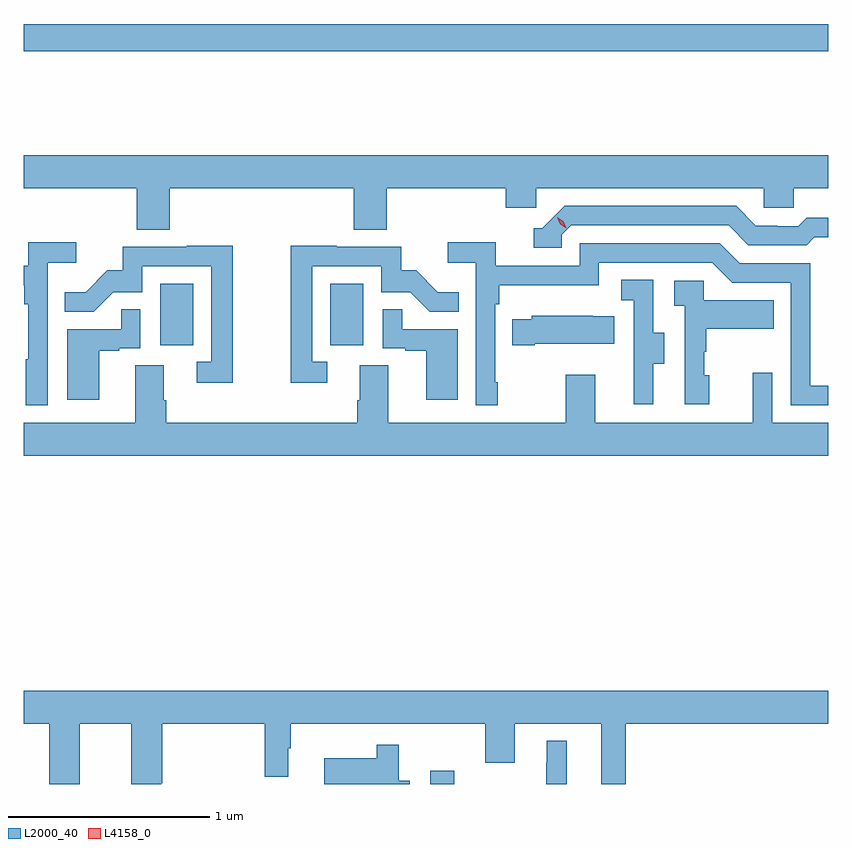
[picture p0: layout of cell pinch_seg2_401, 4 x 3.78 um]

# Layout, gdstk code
import gdstk
lib = gdstk.Library(unit=1e-6, precision=1e-09)
def R(c, l, rs):  # rectangles x0, y0, x1, y1
    for r in rs: c.add(gdstk.rectangle(r[:2], r[2:], *l))
def P(c, l, *ps):  # polygons
    for p in ps: c.add(gdstk.Polygon(p, *l))
L2000_40 = (2000, 40)
L4158_0 = (4158, 0)

pinch_seg2_401 = lib.new_cell('pinch_seg2_401')
R(pinch_seg2_401, L2000_40, [(952.142,620.696,952.261,620.761), (950.798,622.878,950.962,623.185), (951.644,622.878,951.808,623.185), (950.12,624.34,954.12,624.476)])
P(pinch_seg2_401, L2000_40, [(950.846,623.66),(951.761,623.66),(951.761,623.452),(951.926,623.452),(951.926,623.66),(952.517,623.66),(952.517,623.562),(952.668,623.562),(952.668,623.66),(953.799,623.66),(953.799,623.562),(953.949,623.562),(953.949,623.66),(954.12,623.66),(954.12,623.824),(950.12,623.824),(950.12,623.66),(950.681,623.66),(950.681,623.452),(950.846,623.452)],
  [(952.794,623.427),(952.842,623.475),(953.625,623.475),(953.724,623.376),(954.013,623.376),(954.052,623.415),(954.12,623.415),(954.12,623.512),(954.013,623.512),(953.971,623.469),(953.868,623.469),(953.868,623.472),(953.761,623.472),(953.662,623.571),(952.809,623.571),(952.698,623.46),(952.655,623.46),(952.655,623.364),(952.794,623.364)],
  [(950.238,623.288),(950.38,623.288),(950.38,623.39),(950.141,623.39),(950.141,623.274),(950.12,623.274),(950.12,623.177),(950.122,623.177),(950.122,623.081),(950.142,623.081),(950.142,622.808),(950.13,622.808),(950.13,622.581),(950.238,622.581)],
  [(952.477,622.693),(952.464,622.693),(952.464,623.081),(952.484,623.081),(952.484,623.177),(952.98,623.177),(952.98,623.289),(953.544,623.289),(953.643,623.19),(953.934,623.19),(953.934,622.581),(954.12,622.581),(954.12,622.677),(954.03,622.677),(954.03,623.286),(953.68,623.286),(953.581,623.385),(952.884,623.385),(952.884,623.274),(952.466,623.274),(952.466,623.39),(952.227,623.39),(952.227,623.288),(952.368,623.288),(952.368,622.581),(952.477,622.581)],
  [(951.628,622.797),(951.555,622.797),(951.555,623.271),(951.897,623.271),(951.897,623.142),(952.041,623.142),(952.139,623.044),(952.283,623.044),(952.283,623.143),(952.179,623.143),(952.072,623.25),(951.996,623.25),(951.996,623.367),(951.677,623.367),(951.677,623.372),(951.447,623.372),(951.447,622.692),(951.628,622.692)],
  [(951.16,623.372),(950.929,623.372),(950.929,623.367),(950.611,623.367),(950.611,623.25),(950.534,623.25),(950.427,623.143),(950.323,623.143),(950.323,623.044),(950.467,623.044),(950.565,623.142),(950.709,623.142),(950.709,623.271),(951.051,623.271),(951.051,622.797),(950.979,622.797),(950.979,622.692),(951.16,622.692)],
  [(953.251,622.786),(953.305,622.786),(953.305,622.941),(953.25,622.941),(953.25,623.204),(953.091,623.204),(953.091,623.101),(953.154,623.101),(953.154,622.797),(953.153,622.797),(953.153,622.584),(953.251,622.584)],
  [(953.53,622.728),(953.505,622.728),(953.505,622.847),(953.515,622.847),(953.515,622.961),(953.849,622.961),(953.849,623.101),(953.502,623.101),(953.502,623.199),(953.355,623.199),(953.355,623.075),(953.406,623.075),(953.406,622.584),(953.53,622.584)],
  [(952.279,622.959),(952.001,622.959),(952.001,623.057),(951.906,623.057),(951.906,622.863),(952.017,622.863),(952.017,622.851),(952.121,622.851),(952.121,622.608),(952.279,622.608)],
  [(950.494,622.851),(950.594,622.851),(950.594,622.863),(950.7,622.863),(950.7,623.057),(950.605,623.057),(950.605,622.959),(950.336,622.959),(950.336,622.608),(950.494,622.608)],
  [(952.66,622.886),(953.057,622.886),(953.057,623.023),(952.949,623.023),(952.949,623.026),(952.647,623.026),(952.647,623.008),(952.549,623.008),(952.549,622.879),(952.66,622.879)],
  [(954.12,622.492),(953.841,622.492),(953.841,622.741),(953.744,622.741),(953.744,622.492),(952.963,622.492),(952.963,622.732),(952.816,622.732),(952.816,622.492),(951.931,622.492),(951.931,622.778),(951.791,622.778),(951.791,622.604),(951.779,622.604),(951.779,622.492),(950.828,622.492),(950.828,622.604),(950.815,622.604),(950.815,622.778),(950.675,622.778),(950.675,622.492),(950.12,622.492),(950.12,622.328),(954.12,622.328)],
  [(950.398,620.996),(950.654,620.996),(950.654,620.696),(950.802,620.696),(950.802,620.7),(950.807,620.7),(950.807,620.996),(951.319,620.996),(951.319,620.733),(951.436,620.733),(951.436,620.873),(951.448,620.873),(951.448,620.996),(952.414,620.996),(952.414,620.802),(952.561,620.802),(952.561,620.996),(952.991,620.996),(952.991,620.696),(953.114,620.696),(953.114,620.996),(954.12,620.996),(954.12,621.16),(950.12,621.16),(950.12,620.996),(950.246,620.996),(950.246,620.696),(950.398,620.696)],
  [(952.819,620.911),(952.721,620.911),(952.721,620.801),(952.718,620.801),(952.718,620.696),(952.819,620.696)],
  [(952.039,620.713),(951.985,620.713),(951.985,620.89),(951.876,620.89),(951.876,620.824),(951.614,620.824),(951.614,620.696),(952.039,620.696)])
P(pinch_seg2_401, L4158_0, [(952.818,623.461),(952.787,623.481),(952.772,623.514),(952.772,623.514),(952.772,623.514),(952.802,623.494),(952.818,623.461),(952.818,623.461)])

lib.write_gds('pinch_seg2_401.gds')
